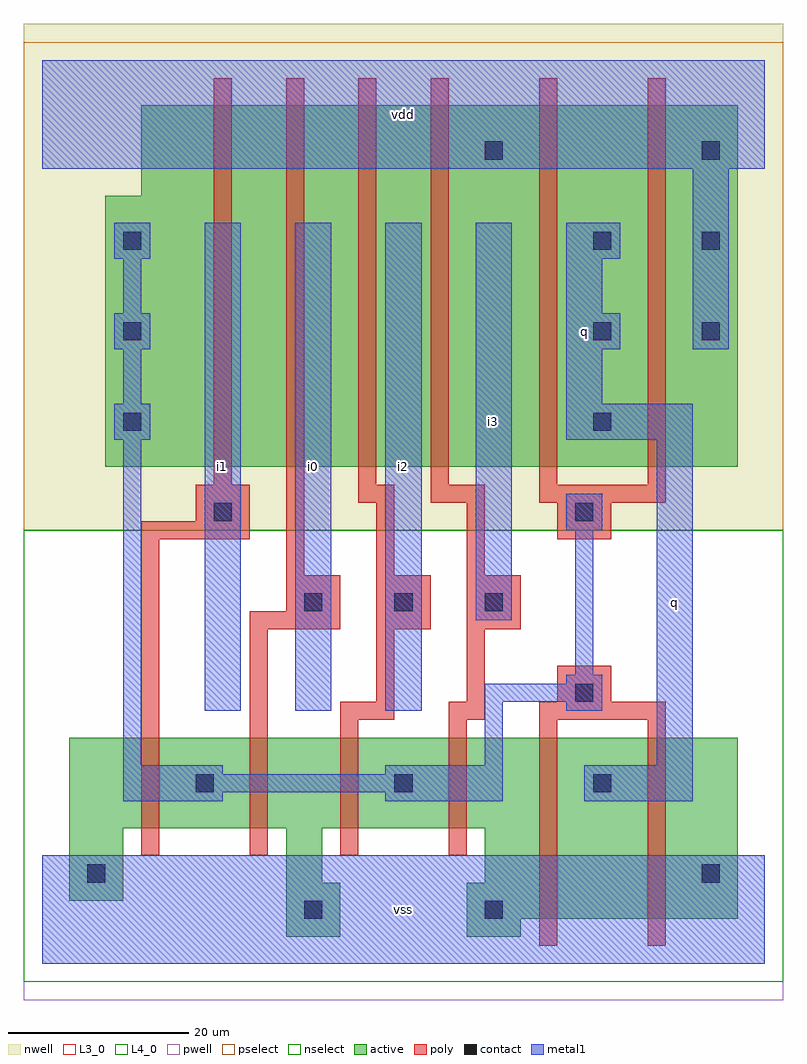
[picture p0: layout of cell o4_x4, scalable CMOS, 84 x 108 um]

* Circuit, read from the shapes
.subckt o4_x4 i0 i1 i2 i3 q vdd vss
M1 n1 i1 vss VSUBS nfet w=10u l=2u
M2 vss i0 n1 VSUBS nfet w=10u l=2u
M3 n1 i2 vss VSUBS nfet w=10u l=2u
M4 vss i3 n1 VSUBS nfet w=10u l=2u
M5 q n1 vss VSUBS nfet w=20u l=2u m=2
M6 n2 i1 n1 n3 pfet w=40u l=2u
M7 n4 i0 n2 n3 pfet w=40u l=2u
M8 n5 i2 n4 n3 pfet w=40u l=2u
M9 vdd i3 n5 n3 pfet w=40u l=2u
M10 q n1 vdd n3 pfet w=40u l=2u m=2
.ends

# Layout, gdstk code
import gdstk
lib = gdstk.Library(unit=1e-6, precision=1e-09)
def R(c, l, rs):  # rectangles x0, y0, x1, y1
    for r in rs: c.add(gdstk.rectangle(r[:2], r[2:], *l))
def A(c, l, x, y, w, h, nx, ny, dx, dy):  # array of equal rectangles
    R(c, l, [(x+i*dx, y+j*dy, x+i*dx+w, y+j*dy+h) for i in range(nx) for j in range(ny)])
L3_0 = (3, 0)
L4_0 = (4, 0)
contact = (25, 0)
pwell = (41, 0)
nwell = (42, 0)
active = (43, 0)
pselect = (44, 0)
nselect = (45, 0)
poly = (46, 0)
metal1 = (49, 0)

o4_x4 = lib.new_cell('o4_x4')
R(o4_x4, L3_0, [(27,3,33,9), (47,3,53,5), (47,5,77,9), (3,7,9,15), (27,9,31,15), (49,9,77,15), (3,15,77,25)])
R(o4_x4, L4_0, [(7,55,77,85), (11,85,77,95)])
A(o4_x4, contact, 17, 19, 2, 2, 3, 1, 22, 0)
A(o4_x4, contact, 29, 39, 2, 2, 3, 1, 10, 0)
A(o4_x4, contact, 9, 59, 2, 2, 1, 3, 0, 10)
A(o4_x4, contact, 61, 59, 2, 2, 1, 3, 0, 10)
A(o4_x4, contact, 73, 69, 2, 2, 1, 3, 0, 10)
R(o4_x4, contact, [(29,5,31,7), (49,5,51,7), (5,9,7,11), (73,9,75,11), (59,29,61,31), (19,49,21,51), (59,49,61,51), (49,89,51,91)])
R(o4_x4, pwell, [(-2,-4,82,48)])
R(o4_x4, nwell, [(-2,48,82,104)])
R(o4_x4, active, [(27,3,33,9), (47,3,53,5), (47,5,77,9), (3,7,9,15), (27,9,31,15), (49,9,77,15), (3,15,77,25), (7,55,77,85), (11,85,77,95)])
R(o4_x4, pselect, [(-2,48,82,102)])
R(o4_x4, nselect, [(-2,-2,82,48)])
A(o4_x4, poly, 43, 53, 2, 45, 3, 1, 12, 0)
R(o4_x4, poly, [(55,2,57,27), (67,2,69,27), (11,12,13,47), (23,12,25,37), (33,12,35,27), (45,12,47,27), (33,27,39,29), (45,27,49,29), (55,27,69,29), (37,29,39,37), (47,29,49,37), (57,29,63,33), (23,37,33,39), (37,37,43,43), (47,37,53,43), (27,39,33,43), (27,43,29,98), (37,43,39,51), (47,43,49,51), (11,47,23,49), (57,47,63,51), (17,49,23,53), (35,51,39,53), (43,51,49,53), (55,51,69,53), (19,53,21,98), (35,53,37,98)])
A(o4_x4, metal1, 18, 28, 4, 54, 3, 1, 10, 0)
A(o4_x4, metal1, 8, 58, 4, 4, 1, 3, 0, 10)
R(o4_x4, metal1, [(0,0,80,12), (9,18,20,19), (38,18,51,19), (60,18,72,22), (9,19,51,21), (9,21,20,22), (38,21,51,22), (9,22,11,58), (49,22,51,29), (68,22,72,58), (58,28,62,29), (49,29,62,31), (58,31,62,32), (59,32,61,48), (48,38,52,82), (58,48,62,52), (58,58,72,62), (9,62,11,68), (58,62,62,68), (58,68,64,72), (72,68,76,88), (9,72,11,78), (58,72,62,78), (58,78,64,82), (0,88,80,100)])
o4_x4.add(gdstk.Label('i0', (30,55), layer=49, texttype=0))
o4_x4.add(gdstk.Label('i1', (20,55), layer=49, texttype=0))
o4_x4.add(gdstk.Label('vss', (40,6), layer=49, texttype=0))
o4_x4.add(gdstk.Label('i2', (40,55), layer=49, texttype=0))
o4_x4.add(gdstk.Label('i3', (50,60), layer=49, texttype=0))
o4_x4.add(gdstk.Label('vdd', (40,94), layer=49, texttype=0))
o4_x4.add(gdstk.Label('q', (70,40), layer=49, texttype=0))
o4_x4.add(gdstk.Label('q', (60,70), layer=49, texttype=0))

lib.write_gds('o4_x4.gds')
